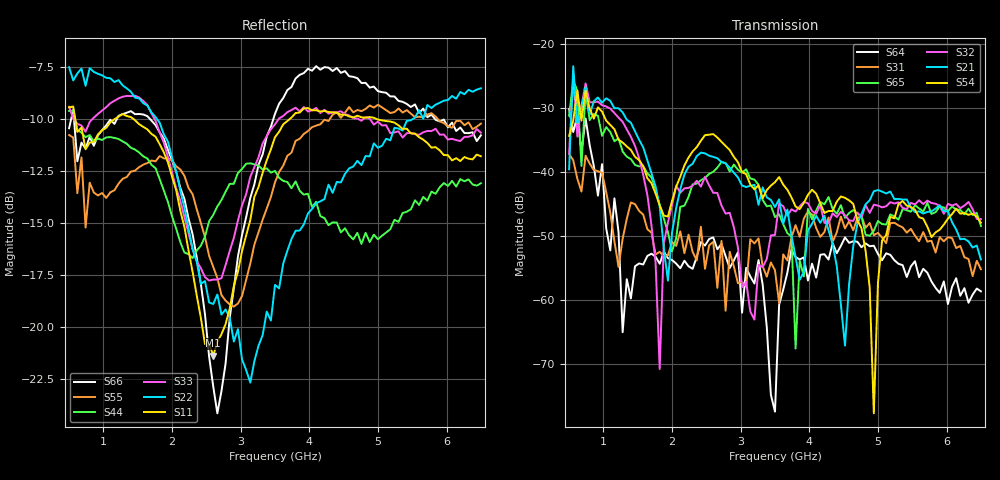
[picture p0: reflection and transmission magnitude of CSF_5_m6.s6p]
!Keysight Technologies,M9804A,MY58100912,A.14.10.03
!Date: Thursday, April 27, 2023 10:28:33
!Correction: S11(C  6-Port  )
!S12(C  6-Port  )
!S13(C  6-Port  )
!S14(C  6-Port  )
!S15(C  6-Port  )
!S16(C  6-Port  )
!S21(C  6-Port  )
!S22(C  6-Port  )
!S23(C  6-Port  )
!S24(C  6-Port  )
!S25(C  6-Port  )
!S26(C  6-Port  )
!S31(C  6-Port  )
!S32(C  6-Port  )
!S33(C  6-Port  )
!S34(C  6-Port  )
!S35(C  6-Port  )
!S36(C  6-Port  )
!S41(C  6-Port  )
!S42(C  6-Port  )
!S43(C  6-Port  )
!S44(C  6-Port  )
!S45(C  6-Port  )
!S46(C  6-Port  )
!S51(C  6-Port  )
!S52(C  6-Port  )
!S53(C  6-Port  )
!S54(C  6-Port  )
!S55(C  6-Port  )
!S56(C  6-Port  )
!S61(C  6-Port  )
!S62(C  6-Port  )
!S63(C  6-Port  )
!S64(C  6-Port  )
!S65(C  6-Port  )
!S66(C  6-Port  )
!S6P File: Measurement: :
# Hz S  RI  R 50
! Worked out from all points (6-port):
!   101 points, 500 MHz to 6.5 GHz, reference 50 ohm
!   strongest paths, dB at 500 MHz, 2 GHz, 3.5 GHz, 5 GHz, 6.5 GHz:
!     S54: -34.3, -44.5, -41.5, -57.3, -47.9
!     S21: -39.5, -49.4, -45.4, -42.8, -53.6
!     S32: -37.0, -45.1, -49.8, -45.2, -47.3
!     S65: -31.2, -52.3, -47.0, -47.6, -48.4
!     S31: -37.1, -50.9, -55.3, -49.5, -55.1
!     S64: -30.1, -53.7, -77.4, -52.7, -58.6
!   lowest |S11| = -21.4 dB at 2.6 GHz (marker M1), VSWR 1.19, Z = 42.4 + j2.21 ohm
!   |S11| at or under -10 dB: 589.5 MHz to 1.166 GHz (576.6 MHz wide, 65.7 % of centre); 1.438 GHz to 3.714 GHz (2.277 GHz wide, 88.4 % of centre); 4.981 GHz to end of sweep
